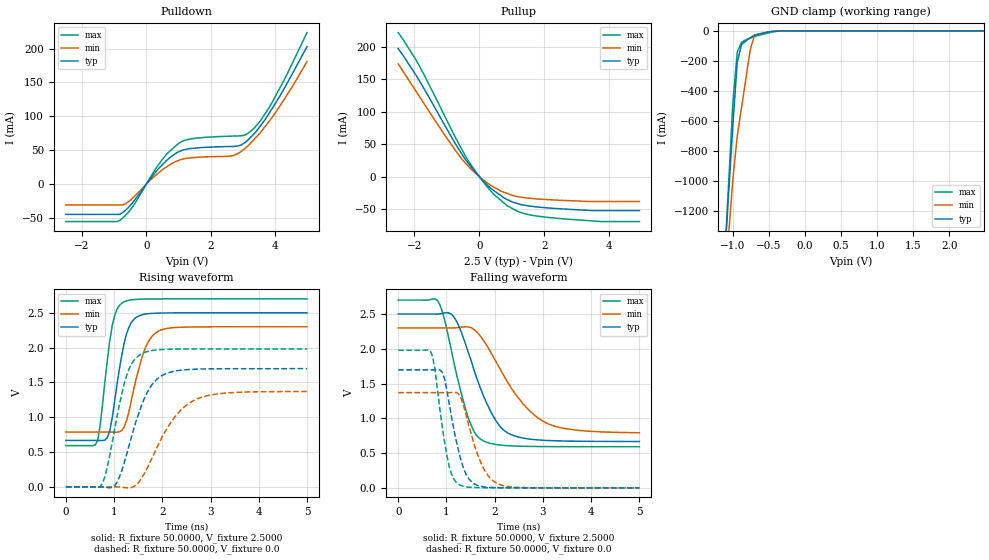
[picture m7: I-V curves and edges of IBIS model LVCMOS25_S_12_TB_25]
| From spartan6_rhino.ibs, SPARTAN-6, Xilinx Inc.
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|   Model LVCMOS25_S_12_TB_25
[Model]  LVCMOS25_S_12_TB_25
Model_type I/O
Polarity   Non-Inverting
Enable   Active-Low
Vinl =   0.7000V
Vinh =   1.7000V
Vmeas =  1.2500V
Cref =   0.0F
Rref =   1.0000M
Vref =   0.0V
C_comp   5.71pF   5.63pF   6.21pF
|C_comp  6.33pF   6.15pF   6.69pF
[Temperature Range]   25.0000   85.0000   0.0
[Voltage Range]   2.5000V   2.3000V   2.7000V
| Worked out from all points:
|   slope of the pulldown table from 0 to 0.375 V, typ, clamps not added: 16.5 ohm
|   slope of the pullup table from 0 to 0.375 V, typ, clamps not added: 20 ohm
|   GND clamp passes 1 mA (typ) near -0.33 V on its own axis
|   rising waveform, R_fixture 50.0000, V_fixture 2.5000: 20-80 % time 265ps typ, 340ps min, 220ps max; typ from 0.666 V to 2.5 V
|   rising waveform, R_fixture 50.0000, V_fixture 0.0: 20-80 % time 482ps typ, 684ps min, 361ps max; typ from 0 V to 1.7 V
|   falling waveform, R_fixture 50.0000, V_fixture 2.5000: 20-80 % time 605ps typ, 869ps min, 442ps max; typ from 2.5 V to 0.667 V
|   falling waveform, R_fixture 50.0000, V_fixture 0.0: 20-80 % time 307ps typ, 385ps min, 248ps max; typ from 1.7 V to 0 V
[Pulldown]
|Voltage   I(typ)   I(min)   I(max)
-2.5V     -44.43mA   -30.59mA   -55.05mA
-900mV    -44.43mA   -30.59mA   -55.05mA
-500mV    -31.45mA   -23.75mA   -38.12mA
460mV     26.83mA    19.88mA    34.09mA
1.02V     48.18mA    35.39mA    60.76mA
1.5V      53.14mA    39.33mA    67.66mA
2.7V      55.71mA    42.34mA    71mA
2.94V     57.6mA     47.77mA    71.44mA
3.26V     69.79mA    61.33mA    78.64mA
3.58V     87.79mA    77.89mA    95.73mA
3.9V      110.5mA    97.75mA    119.5mA
5V        202.9mA    181mA      223.6mA
[Pullup]
|Voltage   I(typ)   I(min)   I(max)
-2.5V     197.7mA    174.1mA    222.3mA
-1.8V     143.9mA    120.1mA    166.3mA
-1.08V    80.52mA    65.08mA    94.6mA
-520mV    33.26mA    26.22mA    40.1mA
-280mV    16.69mA    12.89mA    20.11mA
200mV     -10.69mA   -8.015mA   -13.21mA
440mV     -21.2mA    -15.83mA   -26.8mA
840mV     -34.74mA   -25.44mA   -44.11mA
1.4V      -43.98mA   -32.28mA   -57.01mA
2.04V     -47.72mA   -35.02mA   -62.28mA
3.72V     -52.1mA    -38mA      -69mA
4.92V     -52.1mA    -38mA      -69mA
[GND_clamp]
|Voltage   I(typ)   I(min)   I(max)
-2.5V     -12.34A    -10.45A    -14.37A
-1.12V    -1.552A    -1.737A    -1.574A
-1.06V    -1.086A    -1.36A     -1.022A
-1V       -620.6mA   -984.2mA   -471.1mA
-940mV    -209.7mA   -700.3mA   -141mA
-880mV    -89.81mA   -509.1mA   -76mA
-760mV    -46.16mA   -126.7mA   -48.18mA
-700mV    -28.14mA   -27.89mA   -37.91mA
-460mV    -4.532mA   -4.163mA   -8.175mA
-280mV    -125.5uA   -168.6uA   -349.9uA
2.48V     28.85nA    239nA      28.24nA
[POWER_clamp]
|Voltage   I(typ)   I(min)   I(max)
-2.49V    0A         0A         0A
-2.46V    0A         0A         0A
-2.43V    0A         0A         0A
0V        0A         0A         0A
[Ramp]
| variable   typ   min   max
dV/dt_r  1.0182/0.4799n   0.8208/0.6827n   1.1880/0.3589n
dV/dt_f  1.1000/0.6041n   0.9045/0.8688n   1.2650/0.4401n
R_load = 50.0000
[Rising Waveform]
R_fixture= 50.0000
V_fixture= 2.5000
V_fixture_min= 2.3000
V_fixture_max= 2.7000
|time   V(typ)   V(min)   V(max)
0s        666.2mV    786.8mV    591.5mV
660ps     666.2mV    786.8mV    668.9mV
910ps     805.4mV    786.8mV    2.092V
1.01ns    1.226V     785.4mV    2.459V
1.16ns    1.896V     810.6mV    2.638V
1.26ns    2.201V     953.8mV    2.671V
1.41ns    2.405V     1.411V     2.689V
1.67ns    2.483V     2.03V      2.697V
1.92ns    2.494V     2.236V     2.698V
5ns       2.499V     2.299V     2.699V
[Rising Waveform]
R_fixture= 50.0000
V_fixture= 0.0
|time   V(typ)   V(min)   V(max)
0s        3.142uV    4.814uV    3.465uV
760ps     -594.4uV   -922.1nV   52.99mV
1.01ns    16.78mV    520.4uV    823.9mV
1.26ns    466.8mV    -13.92mV   1.598V
1.57ns    1.172V     125.2mV    1.911V
1.92ns    1.565V     609.3mV    1.968V
2.27ns    1.663V     1.013V     1.977V
2.63ns    1.687V     1.232V     1.979V
3.28ns    1.695V     1.344V     1.98V
5ns       1.697V     1.368V     1.98V
[Falling Waveform]
R_fixture= 50.0000
V_fixture= 2.5000
V_fixture_min= 2.3000
V_fixture_max= 2.7000
|time   V(typ)   V(min)   V(max)
0s        2.5V       2.3V       2.7V
860ps     2.501V     2.3V       2.64V
1.21ns    2.394V     2.302V     1.633V
1.46ns    1.933V     2.313V     991mV
1.72ns    1.405V     2.167V     694mV
1.97ns    1.031V     1.887V     630.2mV
2.22ns    812.5mV    1.577V     608.8mV
2.98ns    685.6mV    967.5mV    593.9mV
3.64ns    671.3mV    834.4mV    592.1mV
5ns       666.7mV    792.5mV    591.6mV
[Falling Waveform]
R_fixture= 50.0000
V_fixture= 0.0
|time   V(typ)   V(min)   V(max)
0s        1.697V     1.369V     1.98V
710ps     1.697V     1.369V     1.897V
910ps     1.666V     1.369V     894.4mV
1.01ns    1.403V     1.369V     464.1mV
1.11ns    998.5mV    1.371V     189.2mV
1.26ns    508.5mV    1.345V     48mV
1.46ns    132.8mV    906.3mV    10.12mV
1.72ns    20.37mV    352.6mV    2.453mV
2.07ns    3.132mV    57.91mV    828.5uV
5ns       58.69uV    196.6uV    20.91uV
